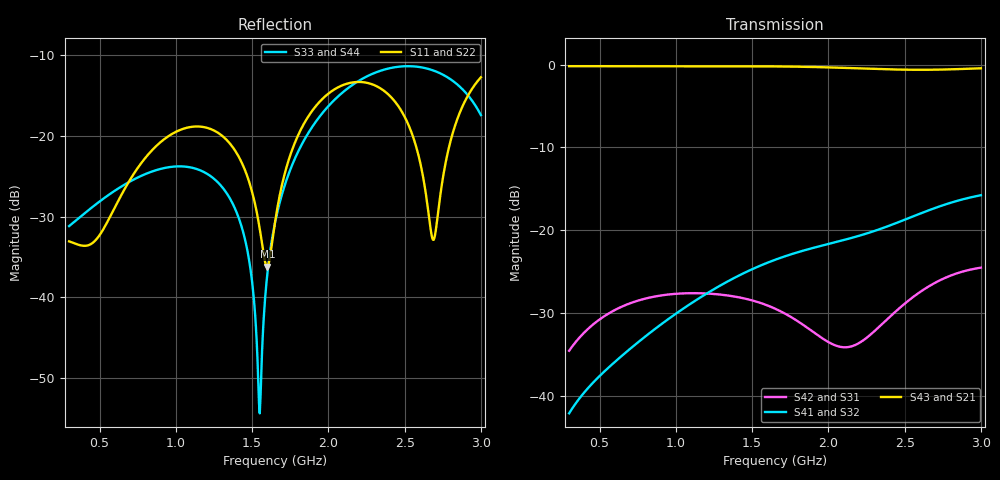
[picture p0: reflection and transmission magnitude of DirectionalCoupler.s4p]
! DirectionalCoupler openEMS FDTD, ports ['J1', 'J2', 'J3', 'J4']
# Hz S RI R 50
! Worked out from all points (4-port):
!   541 points, 300 MHz to 3 GHz, reference 50 ohm
!   strongest paths, dB at 300 MHz, 975 MHz, 1.65 GHz, 2.325 GHz, 3 GHz:
!     S43: -0.2, -0.2, -0.2, -0.5, -0.4
!     S21: -0.2, -0.3, -0.3, -0.5, -0.6
!     S41: -42.1, -30.4, -23.5, -19.9, -15.8
!     S32: -42.1, -30.4, -23.5, -19.9, -15.8
!     S42: -34.5, -27.7, -29.4, -31.8, -24.5
!     S31: -34.5, -27.7, -29.4, -31.8, -24.5
!   lowest |S11| = -36.2 dB at 1.6 GHz (marker M1), VSWR 1.03, Z = 50.4 + j1.51 ohm
!   |S11| at or under -10 dB: start of sweep to end of sweep
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3e8  -0.0115 0.019  0.5811 -0.7834  0.0134 0.0125  -0.00457 -0.00532
     0.5811 -0.7834  -0.0115 0.019  -0.00457 -0.00532  0.0134 0.0125
     0.0142 0.0124  -0.00583 -0.00533  -0.0276 -0.000862  0.7044 -0.6784
     -0.00583 -0.00533  0.0142 0.0124  0.7044 -0.6784  -0.0276 -0.000862
9.8e8  -0.00712 0.1032  -0.9649 -0.0865  0.017 -0.0375  -0.0135 0.0274
       -0.9649 -0.0865  -0.00712 0.1032  -0.0135 0.0274  0.017 -0.0375
       0.017 -0.0377  -0.013 0.0277  -0.0294 0.0573  -0.7858 -0.579
       -0.013 0.0277  0.017 -0.0377  -0.7858 -0.579  -0.0294 0.0573
1.55e9  0.0236 0.0121  0.1238 0.9627  -0.0348 -0.0113  0.0589 0.0184
        0.1238 0.9627  0.0236 0.0121  0.0589 0.0184  -0.0348 -0.0113
        -0.0348 -0.0115  0.0587 0.0172  -0.00127 0.00143  -0.651 0.7266
        0.0587 0.0172  -0.0348 -0.0115  -0.651 0.7266  -0.00127 0.00143
1.6e9  0.00378 0.015  0.2751 0.9308  -0.0349 -0.00484  0.0636 0.00942
       0.2751 0.9308  0.00378 0.015  0.0636 0.00942  -0.0349 -0.00484
       -0.035 -0.00497  0.0633 0.00828  -0.0131 -0.00515  -0.5502 0.8052
       0.0633 0.00828  -0.035 -0.00497  -0.5502 0.8052  -0.0131 -0.00515
2.44e9  0.1556 0.043  0.1828 -0.9338  0.00483 -0.0321  -0.0674 -0.0881
        0.1828 -0.9338  0.1556 0.043  -0.0674 -0.0881  0.00483 -0.0321
        0.00511 -0.032  -0.0707 -0.0847  0.0211 0.2657  0.9333 -0.0305
        -0.0707 -0.0847  0.00511 -0.032  0.9333 -0.0305  0.0211 0.2657
2.69e9  0.0126 0.0188  -0.5611 -0.7781  -0.0411 -0.0234  -0.1341 -0.0266
        -0.5611 -0.7781  0.0126 0.0188  -0.1341 -0.0266  -0.0411 -0.0234
        -0.0415 -0.0237  -0.1341 -0.0199  0.1659 0.1919  0.7256 -0.5834
        -0.1341 -0.0199  -0.0415 -0.0237  0.7256 -0.5834  0.1659 0.1919
3e9  0.0403 0.227  -0.9255 0.0682  -0.0365 0.0479  -0.1166 0.1184
     -0.9255 0.0682  0.0403 0.227  -0.1166 0.1184  -0.0365 0.0479
     -0.0356 0.0478  -0.11 0.1204  0.134 0.0114  0.0675 -0.9473
     -0.11 0.1204  -0.0356 0.0478  0.0675 -0.9473  0.134 0.0114
